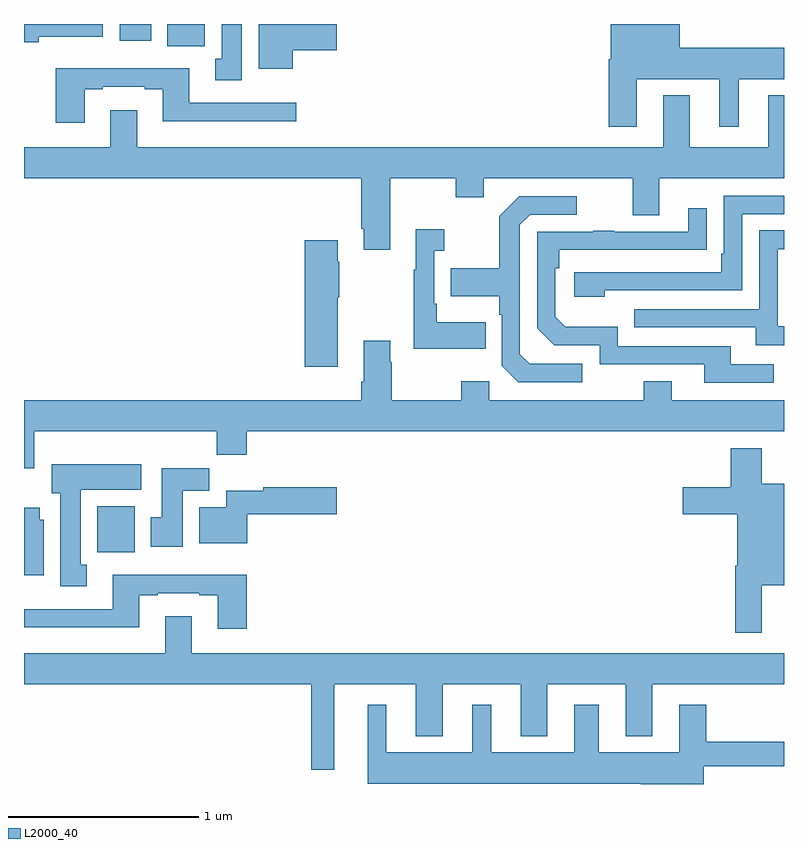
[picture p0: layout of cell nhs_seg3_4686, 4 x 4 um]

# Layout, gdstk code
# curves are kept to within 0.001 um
import gdstk
lib = gdstk.Library(unit=1e-6, precision=1e-09)
def R(c, l, rs):  # rectangles x0, y0, x1, y1
    for r in rs: c.add(gdstk.rectangle(r[:2], r[2:], *l))
def P(c, l, *ps):  # polygons
    for p in ps: c.add(gdstk.Polygon(p, *l))
L2000_40 = (2000, 40)

nhs_seg3_4686 = lib.new_cell('nhs_seg3_4686')
R(nhs_seg3_4686, L2000_40, [(363.386,693.62,363.583,693.862), (363.755,696.284,363.952,696.4), (363.503,696.312,363.67,696.4)])
P(nhs_seg3_4686, L2000_40, [(364.414,696.263),(364.645,696.263),(364.645,696.4),(364.235,696.4),(364.235,696.164),(364.414,696.164)],
  [(364.147,696.4),(364.04,696.4),(364.04,696.218),(364.007,696.218),(364.007,696.105),(364.147,696.105)],
  [(366.226,696.11),(366.659,696.11),(366.659,695.859),(366.763,695.859),(366.763,696.11),(367,696.11),(367,696.274),(366.451,696.274),(366.451,696.4),(366.089,696.4),(366.089,696.214),(366.077,696.214),(366.077,695.859),(366.226,695.859)],
  [(363.078,696.332),(363.415,696.332),(363.415,696.4),(363,696.4),(363,696.305),(363.078,696.305)],
  [(363.319,696.057),(363.415,696.057),(363.415,696.069),(363.635,696.069),(363.635,696.057),(363.731,696.057),(363.731,695.888),(364.432,695.888),(364.432,695.985),(363.871,695.985),(363.871,696.166),(363.167,696.166),(363.167,695.88),(363.319,695.88)],
  [(364.927,695.588),(365.272,695.588),(365.272,695.489),(365.419,695.489),(365.419,695.588),(366.203,695.588),(366.203,695.394),(366.343,695.394),(366.343,695.588),(367,695.588),(367,696.025),(366.917,696.025),(366.917,695.752),(366.505,695.752),(366.505,696.025),(366.365,696.025),(366.365,695.752),(363.595,695.752),(363.595,695.947),(363.455,695.947),(363.455,695.752),(363,695.752),(363,695.588),(364.775,695.588),(364.775,695.323),(364.787,695.323),(364.787,695.211),(364.927,695.211)],
  [(366.056,694.998),(366.78,694.998),(366.78,695.4),(367,695.4),(367,695.496),(366.684,695.496),(366.684,695.191),(366.671,695.191),(366.671,695.094),(365.895,695.094),(365.895,694.964),(366.056,694.964)],
  [(365.938,694.611),(365.661,694.611),(365.61,694.662),(365.61,695.343),(365.664,695.397),(365.908,695.397),(365.908,695.493),(365.607,695.493),(365.502,695.387),(365.502,695.115),(365.245,695.115),(365.245,694.967),(365.502,694.967),(365.502,694.871),(365.514,694.871),(365.514,694.602),(365.601,694.515),(365.938,694.515)],
  [(366.946,694.608),(366.721,694.608),(366.721,694.704),(366.126,694.704),(366.126,694.807),(365.849,694.807),(365.796,694.86),(365.796,695.114),(365.816,695.114),(365.816,695.211),(366.593,695.212),(366.593,695.431),(366.497,695.431),(366.497,695.307),(366.107,695.307),(366.107,695.312),(365.995,695.312),(365.995,695.307),(365.7,695.307),(365.7,694.8),(365.79,694.71),(366.03,694.71),(366.03,694.608),(366.581,694.608),(366.581,694.512),(366.946,694.512)],
  [(365.429,694.831),(365.173,694.831),(365.173,694.927),(365.16,694.927),(365.16,695.207),(365.212,695.207),(365.212,695.32),(365.063,695.32),(365.063,695.107),(365.052,695.107),(365.052,694.691),(365.429,694.691)],
  [(367,694.809),(366.966,694.809),(366.966,695.214),(367,695.214),(367,695.315),(366.87,695.315),(366.87,694.899),(366.211,694.899),(366.211,694.803),(366.851,694.803),(366.851,694.709),(367,694.709)],
  [(364.651,694.961),(364.659,694.961),(364.659,695.15),(364.651,695.15),(364.651,695.263),(364.478,695.263),(364.478,694.596),(364.651,694.596)],
  [(363.055,694.256),(364.015,694.256),(364.015,694.132),(364.172,694.132),(364.172,694.256),(367,694.256),(367,694.42),(366.409,694.42),(366.409,694.519),(366.262,694.519),(366.262,694.42),(365.448,694.42),(365.448,694.519),(365.302,694.519),(365.302,694.42),(364.935,694.42),(364.935,694.619),(364.927,694.619),(364.927,694.732),(364.787,694.732),(364.787,694.516),(364.775,694.516),(364.775,694.42),(363,694.42),(363,694.062),(363.055,694.062)],
  [(366.883,693.446),(367,693.446),(367,693.981),(366.883,693.981),(366.883,694.168),(366.719,694.168),(366.719,693.963),(366.468,693.963),(366.468,693.821),(366.755,693.821),(366.755,693.55),(366.743,693.55),(366.743,693.195),(366.883,693.195)],
  [(363.331,693.554),(363.298,693.554),(363.298,693.95),(363.616,693.95),(363.616,694.084),(363.146,694.084),(363.146,693.93),(363.191,693.93),(363.191,693.441),(363.331,693.441)],
  [(363.835,693.944),(363.974,693.944),(363.974,694.063),(363.725,694.063),(363.725,693.804),(363.668,693.804),(363.668,693.648),(363.835,693.648)],
  [(364.174,693.821),(364.645,693.821),(364.645,693.963),(364.26,693.963),(364.26,693.943),(364.064,693.943),(364.064,693.856),(363.923,693.856),(363.923,693.668),(364.174,693.668)],
  [(363.103,693.792),(363.082,693.792),(363.082,693.853),(363,693.853),(363,693.5),(363.103,693.5)],
  [(364.172,693.502),(363.467,693.502),(363.467,693.321),(363,693.321),(363,693.224),(363.607,693.224),(363.607,693.393),(363.703,693.393),(363.703,693.405),(363.923,693.405),(363.923,693.393),(364.019,693.393),(364.019,693.216),(364.172,693.216)],
  [(364.633,692.924),(365.063,692.924),(365.063,692.651),(365.203,692.651),(365.203,692.924),(365.615,692.924),(365.615,692.651),(365.755,692.651),(365.755,692.924),(366.167,692.924),(366.167,692.651),(366.307,692.651),(366.307,692.924),(367,692.924),(367,693.088),(363.883,693.088),(363.883,693.283),(363.743,693.283),(363.743,693.088),(363,693.088),(363,692.924),(364.512,692.924),(364.512,692.475),(364.633,692.475)],
  [(366.577,692.494),(367,692.494),(367,692.623),(366.59,692.623),(366.59,692.818),(366.449,692.818),(366.449,692.566),(366.025,692.566),(366.025,692.818),(365.897,692.818),(365.897,692.566),(365.458,692.566),(365.458,692.818),(365.36,692.818),(365.36,692.566),(364.906,692.566),(364.906,692.818),(364.808,692.818),(364.808,692.402),(366.245,692.402),(366.245,692.4),(366.577,692.4)])

lib.write_gds('nhs_seg3_4686.gds')
